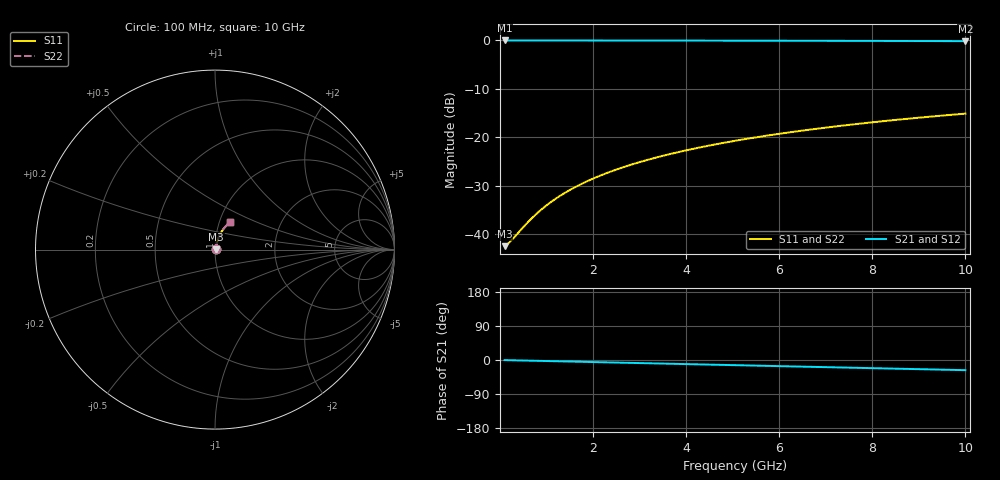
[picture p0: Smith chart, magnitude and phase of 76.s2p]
# Hz S RI R 50.00
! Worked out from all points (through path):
!   100 points, 100 MHz to 10 GHz, reference 50 ohm
!   highest |S21| = -0.06 dB at 100 MHz (marker M1); lowest = -0.2 dB at 10 GHz (marker M2)
!   group delay of S21, straight-line fit = 7.45 ps
!   lowest |S11| = -42.5 dB at 100 MHz (marker M3), VSWR 1.02, Z = 50.7 + j0.182 ohm
!   |S11| at or under -10 dB: start of sweep to end of sweep
!   |S22| runs from -42.5 to -15.2 dB; largest |S21 - S12| = 0
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1e8  0.00727 0.00179  0.9927 -0.00469  0.9927 -0.00469  0.00727 0.00179
2e8  0.00734 0.00359  0.9926 -0.00938  0.9926 -0.00938  0.00734 0.00359
3e8  0.00742 0.00538  0.9925 -0.0141  0.9925 -0.0141  0.00742 0.00538
6e8  0.00772 0.0107  0.9921 -0.0281  0.9921 -0.0281  0.00772 0.0107
7e8  0.00785 0.0125  0.9919 -0.0328  0.9919 -0.0328  0.00785 0.0125
8e8  0.00799 0.0143  0.9917 -0.0375  0.9917 -0.0375  0.00799 0.0143
1e9  0.00833 0.0179  0.9912 -0.0469  0.9912 -0.0469  0.00833 0.0179
1.2e9  0.00872 0.0215  0.9906 -0.0562  0.9906 -0.0562  0.00872 0.0215
1.4e9  0.00919 0.025  0.9899 -0.0655  0.9899 -0.0655  0.00919 0.025
1.6e9  0.00972 0.0285  0.9892 -0.0749  0.9892 -0.0749  0.00972 0.0285
1.8e9  0.0103 0.0321  0.9883 -0.0842  0.9883 -0.0842  0.0103 0.0321
2.1e9  0.0113 0.0374  0.9868 -0.0982  0.9868 -0.0982  0.0113 0.0374
2.5e9  0.0129 0.0443  0.9844 -0.1167  0.9844 -0.1167  0.0129 0.0443
2.9e9  0.0147 0.0512  0.9816 -0.1352  0.9816 -0.1352  0.0147 0.0512
3.4e9  0.0174 0.0598  0.9776 -0.1582  0.9776 -0.1582  0.0174 0.0598
4.2e9  0.0225 0.0731  0.97 -0.1947  0.97 -0.1947  0.0225 0.0731
5.1e9  0.0293 0.0876  0.9595 -0.2351  0.9595 -0.2351  0.0293 0.0876
5.9e9  0.0364 0.0998  0.9487 -0.2705  0.9487 -0.2705  0.0364 0.0998
6.7e9  0.0444 0.1115  0.9364 -0.3053  0.9364 -0.3053  0.0444 0.1115
7.5e9  0.0532 0.1226  0.9227 -0.3393  0.9227 -0.3393  0.0532 0.1226
8.4e9  0.064 0.1341  0.9057 -0.3768  0.9057 -0.3768  0.064 0.1341
1e10  0.0854 0.1521  0.8717 -0.4406  0.8717 -0.4406  0.0854 0.1521
